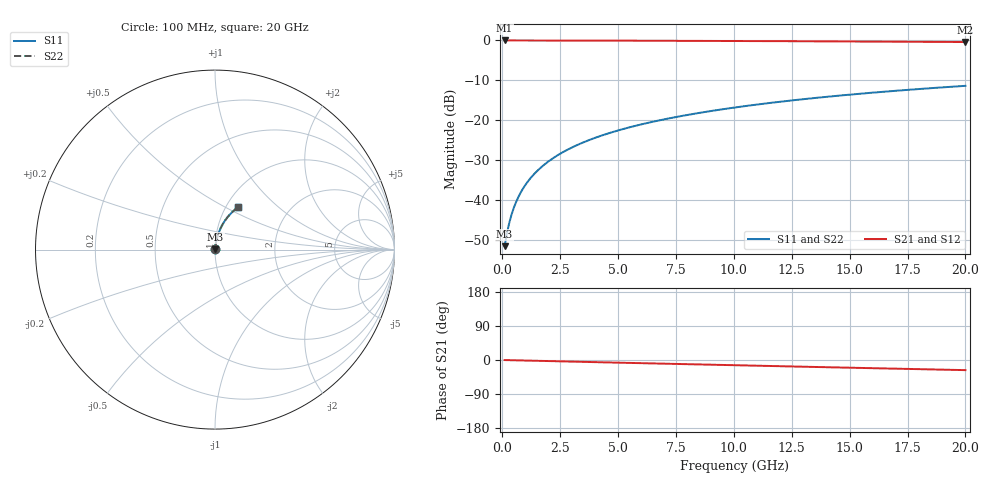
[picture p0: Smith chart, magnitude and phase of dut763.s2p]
! Touchstone file exported from HFSS 2026.1.0
!  File:  C:/ffzhzh/LocalFiles/Ansys_Project_Files/temp_train_TMRDL_763_1783155476_43440.aedt
!  Generated:  04:59:08 PM Jul  4, 2026
!  Design:  TMRDL
!  Project:  temp_train_TMRDL_763_1783155476_43440
! Variables:
!  h_bsmrdl = 2um
!  h_ox = 20um
!  h_rdl = 5um
!  h_sub = 80um
!  h_tmrdl = 5.67um
!  h_tsv = 80um
!  h_via = 3um
!  l_bsmrdl = 300um
!  l_sub = 776.84um
!  l_tmrdl = 376.84um
!  m_sub = 200um
!  pitch = 33.97um
!  r_tsv = 6um
!  s_tmrdl = 10um
!  w_bsmrdl = 18um
!  w_sub = 500um
!  w_tmrdl = 11.49um
!  x_tsv_center1 = 382.585um
!  x_tsv_center2 = 700.585um
!  x_tsv_center3 = 1088.915um
!  x_tsv_center4 = 1406.915um
!  x_tsv_center5 = 1795.245um
!  x_tsv_center6 = 2113.245um
# GHz S MA R 50.000000
! Terminal data exported
! Port[1] = TM_RDL1_1_T1
! Port[2] = TM_RDL1_1_T2
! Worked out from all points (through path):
!   200 points, 100 MHz to 20 GHz, reference 50 ohm
!   highest |S21| = -0.02 dB at 100 MHz (marker M1); lowest = -0.4 dB at 20 GHz (marker M2)
!   group delay of S21, straight-line fit = 3.71 ps
!   lowest |S11| = -51.5 dB at 100 MHz (marker M3), VSWR 1.01, Z = 50.2 + j0.161 ohm
!   |S11| at or under -10 dB: start of sweep to end of sweep
!   |S22| runs from -51.5 to -11.4 dB; largest |S21 - S12| = 2.7e-15
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0.1  0.002662 37.1  0.9979 -0.1  0.9979 -0.1  0.002662 37.1
! Gamma 0 0 0 0
! Port Impedance 50 0 50 0
0.2  0.003844 55.2  0.9978 -0.3  0.9978 -0.3  0.003845 55.2
0.3  0.005198 64.3  0.9978 -0.4  0.9978 -0.4  0.005199 64.3
0.4  0.006622 69.6  0.9977 -0.6  0.9977 -0.6  0.006622 69.5
0.5  0.008083 72.9  0.9976 -0.7  0.9976 -0.7  0.008083 72.9
0.6  0.009565 75.2  0.9976 -0.9  0.9976 -0.9  0.009565 75.2
0.8  0.01256 78.1  0.9975 -1.1  0.9975 -1.1  0.01256 78.0
1.1  0.0171 80.2  0.9973 -1.6  0.9973 -1.6  0.0171 80.2
1.5  0.02315 81.4  0.997 -2.1  0.997 -2.1  0.02315 81.4
1.8  0.02768 81.7  0.9968 -2.6  0.9968 -2.6  0.02768 81.7
2.1  0.0322 81.8  0.9965 -3.0  0.9965 -3.0  0.03219 81.8
2.7  0.04115 81.6  0.9959 -3.8  0.9959 -3.8  0.04115 81.6
3.5  0.05295 81.0  0.9949 -4.9  0.9949 -4.9  0.05295 81.0
4.2  0.06315 80.3  0.9938 -5.9  0.9938 -5.9  0.06315 80.3
5  0.07467 79.4  0.9926 -7.0  0.9926 -7.0  0.07467 79.4
5.9  0.08748 78.4  0.991 -8.2  0.991 -8.2  0.08748 78.4
6.8  0.1001 77.3  0.9894 -9.5  0.9894 -9.5  0.1001 77.3
8.3  0.1209 75.5  0.9864 -11.5  0.9864 -11.5  0.1209 75.5
10.1  0.1454 73.3  0.9824 -13.9  0.9824 -13.9  0.1454 73.3
13.4  0.189 69.3  0.974 -18.3  0.974 -18.3  0.189 69.3
16.7  0.2306 65.3  0.9642 -22.5  0.9642 -22.5  0.2306 65.3
20  0.27 61.3  0.9534 -26.7  0.9534 -26.7  0.27 61.3
